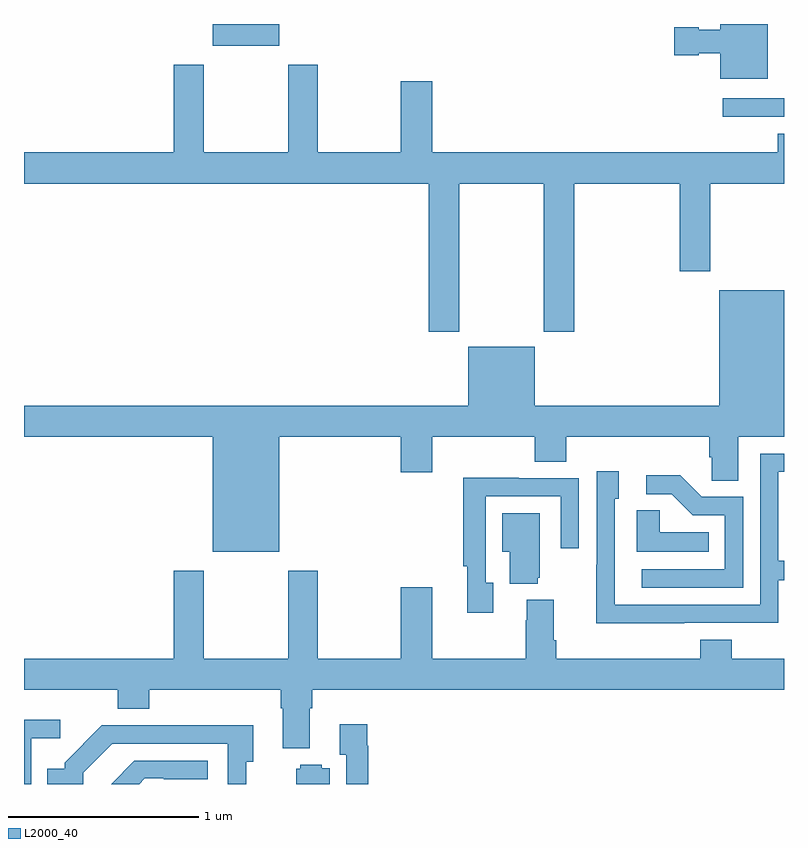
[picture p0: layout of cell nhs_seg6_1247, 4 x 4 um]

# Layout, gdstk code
import gdstk
lib = gdstk.Library(unit=1e-6, precision=1e-09)
def R(c, l, rs):  # rectangles x0, y0, x1, y1
    for r in rs: c.add(gdstk.rectangle(r[:2], r[2:], *l))
def P(c, l, *ps):  # polygons
    for p in ps: c.add(gdstk.Polygon(p, *l))
L2000_40 = (2000, 40)

nhs_seg6_1247 = lib.new_cell('nhs_seg6_1247')
R(nhs_seg6_1247, L2000_40, [(187.994,957.386,188.344,957.5)])
P(nhs_seg6_1247, L2000_40, [(190.915,957.5),(190.664,957.5),(190.664,957.469),(190.551,957.469),(190.551,957.482),(190.422,957.482),(190.422,957.335),(190.551,957.335),(190.551,957.347),(190.664,957.347),(190.664,957.212),(190.915,957.212)],
  [(189.291,956.66),(189.736,956.66),(189.736,955.881),(189.896,955.881),(189.896,956.66),(190.451,956.66),(190.451,956.199),(190.611,956.199),(190.611,956.66),(191,956.66),(191,956.922),(190.967,956.922),(190.967,956.824),(189.148,956.824),(189.148,957.199),(188.984,957.199),(188.984,956.824),(188.547,956.824),(188.547,957.286),(188.392,957.286),(188.392,956.824),(187.947,956.824),(187.947,957.286),(187.787,957.286),(187.787,956.824),(187,956.824),(187,956.66),(189.131,956.66),(189.131,955.881),(189.291,955.881)],
  [(190.923,957.012),(191,957.012),(191,957.108),(190.677,957.108),(190.677,957.011),(190.923,957.011)],
  [(188.344,955.328),(188.984,955.328),(188.984,955.14),(189.148,955.14),(189.148,955.328),(189.689,955.328),(189.689,955.195),(189.854,955.195),(189.854,955.328),(190.607,955.328),(190.607,955.219),(190.62,955.219),(190.62,955.096),(190.759,955.096),(190.759,955.328),(191,955.328),(191,956.098),(190.658,956.098),(190.658,955.492),(189.688,955.492),(189.688,955.801),(189.338,955.801),(189.338,955.492),(187,955.492),(187,955.328),(187.994,955.328),(187.994,954.722),(188.344,954.722)],
  [(190.475,954.348),(190.971,954.348),(190.971,954.573),(191,954.573),(191,954.674),(190.971,954.674),(190.971,955.143),(191,955.143),(191,955.239),(190.875,955.239),(190.875,954.444),(190.11,954.444),(190.11,955.002),(190.129,955.002),(190.129,955.147),(190.014,955.147),(190.014,954.653),(190.012,954.653),(190.012,954.347),(190.475,954.347)],
  [(190.785,955.011),(190.566,955.011),(190.453,955.124),(190.275,955.124),(190.275,955.026),(190.409,955.026),(190.52,954.915),(190.689,954.915),(190.689,954.63),(190.251,954.63),(190.251,954.534),(190.785,954.534)],
  [(189.469,954.558),(189.429,954.558),(189.429,955.014),(189.825,955.014),(189.825,954.741),(189.921,954.741),(189.921,955.11),(189.605,955.11),(189.605,955.112),(189.313,955.112),(189.313,954.646),(189.332,954.646),(189.332,954.402),(189.469,954.402)],
  [(190.604,954.826),(190.347,954.826),(190.347,954.941),(190.226,954.941),(190.226,954.722),(190.604,954.722)],
  [(189.704,954.585),(189.715,954.585),(189.715,954.925),(189.518,954.925),(189.518,954.722),(189.557,954.722),(189.557,954.554),(189.704,954.554)],
  [(188.503,953.9),(188.516,953.9),(188.516,953.996),(191,953.996),(191,954.16),(190.724,954.16),(190.724,954.259),(190.559,954.259),(190.559,954.16),(189.8,954.16),(189.8,954.256),(189.787,954.256),(189.787,954.469),(189.647,954.469),(189.647,954.362),(189.64,954.362),(189.64,954.16),(189.148,954.16),(189.148,954.535),(188.984,954.535),(188.984,954.16),(188.547,954.16),(188.547,954.622),(188.392,954.622),(188.392,954.16),(187.947,954.16),(187.947,954.622),(187.787,954.622),(187.787,954.16),(187,954.16),(187,953.996),(187.493,953.996),(187.493,953.897),(187.658,953.897),(187.658,953.996),(188.351,953.996),(188.351,953.9),(188.363,953.9),(188.363,953.687),(188.503,953.687)],
  [(187.038,953.741),(187.192,953.741),(187.192,953.839),(187,953.839),(187,953.5),(187.038,953.5)],
  [(188.813,953.702),(188.806,953.702),(188.806,953.815),(188.663,953.815),(188.663,953.654),(188.697,953.654),(188.697,953.5),(188.813,953.5)],
  [(187.311,953.559),(187.464,953.712),(188.073,953.712),(188.073,953.5),(188.169,953.5),(188.169,953.618),(188.206,953.618),(188.206,953.81),(187.741,953.81),(187.741,953.808),(187.41,953.808),(187.215,953.613),(187.215,953.581),(187.123,953.581),(187.123,953.5),(187.311,953.5)],
  [(187.635,953.529),(187.735,953.529),(187.735,953.526),(187.966,953.526),(187.966,953.622),(187.58,953.622),(187.458,953.5),(187.606,953.5)],
  [(188.608,953.584),(188.568,953.584),(188.568,953.602),(188.454,953.602),(188.454,953.58),(188.432,953.58),(188.432,953.5),(188.608,953.5)])

lib.write_gds('nhs_seg6_1247.gds')
